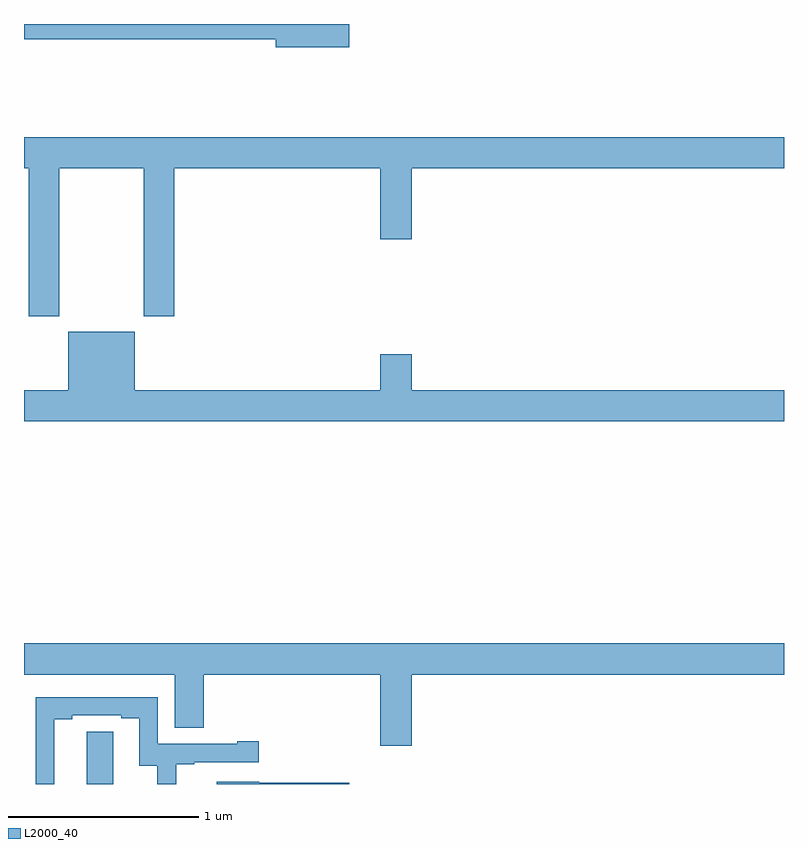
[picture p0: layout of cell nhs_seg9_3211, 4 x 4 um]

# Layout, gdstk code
import gdstk
lib = gdstk.Library(unit=1e-6, precision=1e-09)
def P(c, l, *ps):  # polygons
    for p in ps: c.add(gdstk.Polygon(p, *l))
L2000_40 = (2000, 40)

nhs_seg9_3211 = lib.new_cell('nhs_seg9_3211')
P(nhs_seg9_3211, L2000_40, [(296.713,1210.5),(295,1210.5),(295,1210.42),(296.324,1210.42),(296.324,1210.378),(296.713,1210.378)],
  [(295.185,1209.74),(295.63,1209.74),(295.63,1208.961),(295.79,1208.961),(295.79,1209.74),(296.876,1209.74),(296.876,1209.366),(297.04,1209.366),(297.04,1209.74),(299,1209.74),(299,1209.904),(295,1209.904),(295,1209.74),(295.025,1209.74),(295.025,1208.961),(295.185,1208.961)],
  [(299,1208.572),(297.04,1208.572),(297.04,1208.761),(296.876,1208.761),(296.876,1208.572),(295.582,1208.572),(295.582,1208.881),(295.232,1208.881),(295.232,1208.572),(295,1208.572),(295,1208.408),(299,1208.408)],
  [(297.04,1207.076),(299,1207.076),(299,1207.24),(295,1207.24),(295,1207.076),(295.793,1207.076),(295.793,1206.796),(295.946,1206.796),(295.946,1207.076),(296.876,1207.076),(296.876,1206.702),(297.04,1206.702)],
  [(295.159,1206.841),(295.255,1206.841),(295.255,1206.861),(295.511,1206.861),(295.511,1206.846),(295.607,1206.846),(295.607,1206.595),(295.702,1206.595),(295.702,1206.5),(295.802,1206.5),(295.802,1206.603),(295.897,1206.603),(295.897,1206.615),(296.236,1206.615),(296.236,1206.724),(296.123,1206.724),(296.123,1206.711),(295.704,1206.711),(295.704,1206.957),(295.062,1206.957),(295.062,1206.5),(295.159,1206.5)],
  [(295.471,1206.668),(295.47,1206.668),(295.47,1206.776),(295.331,1206.776),(295.331,1206.5),(295.471,1206.5)],
  [(296.713,1206.506),(296.238,1206.506),(296.238,1206.511),(296.015,1206.511),(296.015,1206.5),(296.713,1206.5)])

lib.write_gds('nhs_seg9_3211.gds')
